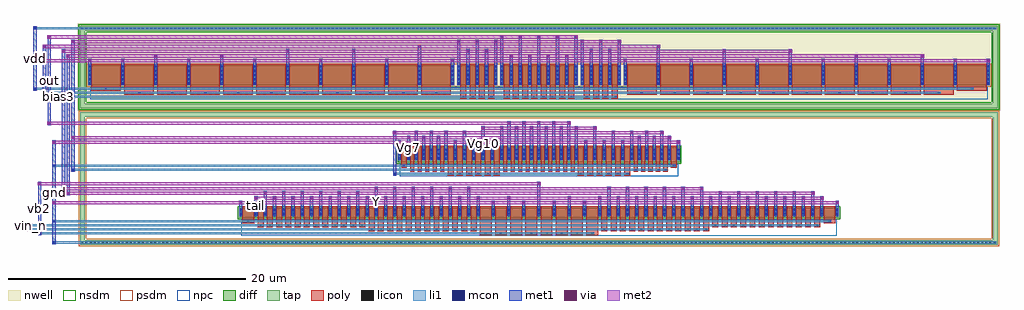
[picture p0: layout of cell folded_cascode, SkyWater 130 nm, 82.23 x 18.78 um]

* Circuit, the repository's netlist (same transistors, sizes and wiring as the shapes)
* folded_cascode hand design for LVS (Ibg = ideal source between pins vb1/vb2, CL = measurement load: not drawn)
.SUBCKT folded_cascode vdd gnd vin_n vin_p out vb1 vb2 bias3
MP vb1 vb1 vdd vdd sky130_fd_pr__pfet_01v8 w=6.6u l=2.5u
M3 X vb1 vdd vdd sky130_fd_pr__pfet_01v8 w=13.2u l=2.5u
M4 Y vb1 vdd vdd sky130_fd_pr__pfet_01v8 w=13.2u l=2.5u
M5 Vg7 bias3 Y vdd sky130_fd_pr__pfet_01v8 w=13.2u l=0.5u
M6 out bias3 X vdd sky130_fd_pr__pfet_01v8 w=13.2u l=0.5u
M1 X vin_n tail gnd sky130_fd_pr__nfet_01v8 w=20.16u l=0.5u
M2 Y vin_p tail gnd sky130_fd_pr__nfet_01v8 w=20.16u l=0.5u
M9 Vg9 Vg9 gnd gnd sky130_fd_pr__nfet_01v8 w=7.56u l=0.5u
M10 Vg10 Vg9 gnd gnd sky130_fd_pr__nfet_01v8 w=7.56u l=0.5u
M7 Vg7 Vg7 Vg9 gnd sky130_fd_pr__nfet_01v8 w=12.6u l=0.35u
M8 out Vg7 Vg10 gnd sky130_fd_pr__nfet_01v8 w=12.6u l=0.35u
M11 tail vb2 gnd gnd sky130_fd_pr__nfet_01v8 w=5.04u l=1u
MN vb2 vb2 gnd gnd sky130_fd_pr__nfet_01v8 w=1.68u l=1u
MDUMNinL tail gnd gnd gnd sky130_fd_pr__nfet_01v8 w=1.68u l=1u
MDUMNcmL Vg7 gnd gnd gnd sky130_fd_pr__nfet_01v8 w=2.52u l=0.5u
MDUMPL vdd vdd vdd vdd sky130_fd_pr__pfet_01v8 w=3.3u l=2.5u
.ENDS

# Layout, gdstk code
import gdstk
lib = gdstk.Library(unit=1e-6, precision=1e-09)
def R(c, l, rs):  # rectangles x0, y0, x1, y1
    for r in rs: c.add(gdstk.rectangle(r[:2], r[2:], *l))
def A(c, l, x, y, w, h, nx, ny, dx, dy):  # array of equal rectangles
    R(c, l, [(x+i*dx, y+j*dy, x+i*dx+w, y+j*dy+h) for i in range(nx) for j in range(ny)])
nwell = (64, 20)
diff = (65, 20)
tap = (65, 44)
poly = (66, 20)
licon = (66, 44)
li1 = (67, 20)
mcon = (67, 44)
met1 = (68, 20)
via = (68, 44)
met2 = (69, 20)
nsdm = (93, 44)
psdm = (94, 20)
npc = (95, 20)

folded_cascode = lib.new_cell('folded_cascode')
R(folded_cascode, nwell, [(-0.86,11.32,76.83,18.65)])
R(folded_cascode, diff, [(12.74,2.31,63.23,3.15), (26.1,6.98,49.87,8.24), (0,13.47,30.83,15.12), (31.1,13.47,34.47,15.12), (34.74,13.47,41.23,15.12), (41.5,13.47,44.87,15.12), (45.14,13.47,75.97,15.12)])
R(folded_cascode, tap, [(-0.68,0,76.65,0.41), (-0.68,0,-0.27,11.19), (76.24,0,76.65,11.19), (-0.68,10.78,76.65,11.19), (-0.68,11.5,76.65,11.91), (-0.68,11.5,-0.27,18.47), (76.24,11.5,76.65,18.47), (-0.68,18.06,76.65,18.47)])
A(folded_cascode, poly, 33.005, 0.805, 1, 2.475, 8, 1, 1.28, 0)
A(folded_cascode, poly, 23.645, 1.145, 0.5, 2.135, 12, 1, 0.78, 0)
A(folded_cascode, poly, 43.245, 1.145, 0.5, 2.135, 12, 1, 0.78, 0)
A(folded_cascode, poly, 14.285, 1.485, 0.5, 1.795, 12, 1, 0.78, 0)
A(folded_cascode, poly, 52.605, 1.485, 0.5, 1.795, 12, 1, 0.78, 0)
A(folded_cascode, poly, 30.295, 5.815, 0.5, 2.555, 6, 1, 0.78, 0)
A(folded_cascode, poly, 41.275, 5.815, 0.5, 2.555, 6, 1, 0.78, 0)
A(folded_cascode, poly, 27.145, 6.155, 0.35, 2.215, 5, 1, 0.63, 0)
A(folded_cascode, poly, 34.975, 6.155, 0.35, 2.215, 10, 1, 0.63, 0)
A(folded_cascode, poly, 45.955, 6.155, 0.35, 2.215, 5, 1, 0.63, 0)
A(folded_cascode, poly, 31.365, 12.305, 0.5, 2.945, 4, 1, 0.78, 0)
A(folded_cascode, poly, 35.005, 12.305, 0.5, 2.945, 8, 1, 0.78, 0)
A(folded_cascode, poly, 41.765, 12.305, 0.5, 2.945, 4, 1, 0.78, 0)
A(folded_cascode, poly, 3.045, 12.645, 2.5, 2.605, 10, 1, 2.78, 0)
A(folded_cascode, poly, 45.405, 12.645, 2.5, 2.605, 10, 1, 2.78, 0)
R(folded_cascode, poly, [(13.005,1.825,14.005,3.28), (61.965,1.825,62.965,3.28), (26.365,6.495,26.865,8.37), (49.105,6.495,49.605,8.37), (0.265,12.985,2.765,15.25), (73.205,12.985,75.705,15.25)])
A(folded_cascode, licon, -0.56, 0.12, 0.17, 0.17, 227, 2, 0.34, 18.06)
A(folded_cascode, licon, 33.42, 0.885, 0.17, 0.17, 8, 1, 1.28, 0)
A(folded_cascode, licon, 23.81, 1.225, 0.17, 0.17, 12, 1, 0.78, 0)
A(folded_cascode, licon, 43.41, 1.225, 0.17, 0.17, 12, 1, 0.78, 0)
A(folded_cascode, licon, 14.45, 1.565, 0.17, 0.17, 12, 1, 0.78, 0)
A(folded_cascode, licon, 52.77, 1.565, 0.17, 0.17, 12, 1, 0.78, 0)
A(folded_cascode, licon, 14.06, 2.475, 0.17, 0.17, 25, 2, 0.78, 0.34)
A(folded_cascode, licon, 34.06, 2.475, 0.17, 0.17, 8, 2, 1.28, 0.34)
A(folded_cascode, licon, 43.8, 2.475, 0.17, 0.17, 24, 2, 0.78, 0.34)
A(folded_cascode, licon, 30.46, 5.895, 0.17, 0.17, 6, 1, 0.78, 0)
A(folded_cascode, licon, 41.44, 5.895, 0.17, 0.17, 6, 1, 0.78, 0)
A(folded_cascode, licon, 27.235, 6.235, 0.17, 0.17, 5, 1, 0.63, 0)
A(folded_cascode, licon, 35.065, 6.235, 0.17, 0.17, 10, 1, 0.63, 0)
A(folded_cascode, licon, 46.045, 6.235, 0.17, 0.17, 5, 1, 0.63, 0)
A(folded_cascode, licon, 26.14, 7.185, 0.17, 0.17, 1, 3, 0, 0.34)
A(folded_cascode, licon, 26.92, 7.185, 0.17, 0.17, 6, 3, 0.63, 0.34)
A(folded_cascode, licon, 30.85, 7.185, 0.17, 0.17, 6, 3, 0.78, 0.34)
A(folded_cascode, licon, 35.38, 7.185, 0.17, 0.17, 10, 3, 0.63, 0.34)
A(folded_cascode, licon, 41.83, 7.185, 0.17, 0.17, 6, 3, 0.78, 0.34)
A(folded_cascode, licon, 46.36, 7.185, 0.17, 0.17, 5, 3, 0.63, 0.34)
A(folded_cascode, licon, 49.66, 7.185, 0.17, 0.17, 1, 3, 0, 0.34)
A(folded_cascode, licon, 31.53, 12.385, 0.17, 0.17, 4, 1, 0.78, 0)
A(folded_cascode, licon, 35.17, 12.385, 0.17, 0.17, 8, 1, 0.78, 0)
A(folded_cascode, licon, 41.93, 12.385, 0.17, 0.17, 4, 1, 0.78, 0)
A(folded_cascode, licon, 4.21, 12.725, 0.17, 0.17, 10, 1, 2.78, 0)
A(folded_cascode, licon, 46.57, 12.725, 0.17, 0.17, 10, 1, 2.78, 0)
A(folded_cascode, licon, 0.04, 13.53, 0.17, 0.17, 12, 5, 2.78, 0.34)
A(folded_cascode, licon, 31.14, 13.53, 0.17, 0.17, 5, 5, 0.78, 0.34)
A(folded_cascode, licon, 34.78, 13.53, 0.17, 0.17, 9, 5, 0.78, 0.34)
A(folded_cascode, licon, 41.54, 13.53, 0.17, 0.17, 5, 5, 0.78, 0.34)
A(folded_cascode, licon, 45.18, 13.53, 0.17, 0.17, 12, 5, 2.78, 0.34)
R(folded_cascode, licon, [(13.42,1.905,13.59,2.075), (62.38,1.905,62.55,2.075), (12.78,2.475,12.95,2.645), (63.02,2.475,63.19,2.645), (12.78,2.815,12.95,2.985), (63.02,2.815,63.19,2.985), (26.53,6.575,26.7,6.745), (49.27,6.575,49.44,6.745), (1.43,13.065,1.6,13.235), (74.37,13.065,74.54,13.235)])
A(folded_cascode, li1, 14.06, 2.395, 0.17, 0.67, 25, 1, 0.78, 0)
A(folded_cascode, li1, 34.06, 2.395, 0.17, 0.67, 8, 1, 1.28, 0)
A(folded_cascode, li1, 43.8, 2.395, 0.17, 0.67, 24, 1, 0.78, 0)
A(folded_cascode, li1, 26.92, 7.105, 0.17, 1.01, 6, 1, 0.63, 0)
A(folded_cascode, li1, 30.85, 7.105, 0.17, 1.01, 6, 1, 0.78, 0)
A(folded_cascode, li1, 35.38, 7.105, 0.17, 1.01, 10, 1, 0.63, 0)
A(folded_cascode, li1, 41.83, 7.105, 0.17, 1.01, 6, 1, 0.78, 0)
A(folded_cascode, li1, 46.36, 7.105, 0.17, 1.01, 5, 1, 0.63, 0)
A(folded_cascode, li1, 0.04, 13.45, 0.17, 1.69, 12, 1, 2.78, 0)
A(folded_cascode, li1, 31.14, 13.45, 0.17, 1.69, 5, 1, 0.78, 0)
A(folded_cascode, li1, 34.78, 13.45, 0.17, 1.69, 9, 1, 0.78, 0)
A(folded_cascode, li1, 41.54, 13.45, 0.17, 1.69, 5, 1, 0.78, 0)
A(folded_cascode, li1, 45.18, 13.45, 0.17, 1.69, 12, 1, 2.78, 0)
R(folded_cascode, li1, [(-3,0.12,76.53,0.29), (-4.2,0.885,42.63,1.055), (-5.4,1.225,52.24,1.395), (-5,1.565,61.6,1.735), (-3,1.905,62.63,2.075), (12.78,2.395,12.95,3.065), (63.02,2.395,63.19,3.065), (25.695,5.895,45.59,6.065), (-1.4,6.235,48.815,6.405), (-3,6.575,49.52,6.745), (26.14,7.105,26.31,8.115), (49.66,7.105,49.83,8.115), (-2.6,12.385,44.52,12.555), (-3.8,12.725,71.84,12.895), (-4.6,13.065,74.62,13.235), (-4.6,18.18,76.53,18.35)])
A(folded_cascode, mcon, 14.06, 2.535, 0.17, 0.17, 25, 2, 0.78, 0.36)
A(folded_cascode, mcon, 34.06, 2.535, 0.17, 0.17, 8, 2, 1.28, 0.36)
A(folded_cascode, mcon, 43.8, 2.535, 0.17, 0.17, 24, 2, 0.78, 0.36)
A(folded_cascode, mcon, 26.14, 7.225, 0.17, 0.17, 1, 3, 0, 0.36)
A(folded_cascode, mcon, 26.92, 7.225, 0.17, 0.17, 6, 3, 0.63, 0.36)
A(folded_cascode, mcon, 30.85, 7.225, 0.17, 0.17, 6, 3, 0.78, 0.36)
A(folded_cascode, mcon, 35.38, 7.225, 0.17, 0.17, 10, 3, 0.63, 0.36)
A(folded_cascode, mcon, 41.83, 7.225, 0.17, 0.17, 6, 3, 0.78, 0.36)
A(folded_cascode, mcon, 46.36, 7.225, 0.17, 0.17, 5, 3, 0.63, 0.36)
A(folded_cascode, mcon, 49.66, 7.225, 0.17, 0.17, 1, 3, 0, 0.36)
A(folded_cascode, mcon, 0.04, 13.53, 0.17, 0.17, 12, 5, 2.78, 0.36)
A(folded_cascode, mcon, 31.14, 13.53, 0.17, 0.17, 5, 5, 0.78, 0.36)
A(folded_cascode, mcon, 34.78, 13.53, 0.17, 0.17, 9, 5, 0.78, 0.36)
A(folded_cascode, mcon, 41.54, 13.53, 0.17, 0.17, 5, 5, 0.78, 0.36)
A(folded_cascode, mcon, 45.18, 13.53, 0.17, 0.17, 12, 5, 2.78, 0.36)
R(folded_cascode, mcon, [(-2.955,0.12,-2.785,0.29), (-4.155,0.885,-3.985,1.055), (-5.355,1.225,-5.185,1.395), (-4.955,1.565,-4.785,1.735), (-2.955,1.905,-2.785,2.075), (12.78,2.535,12.95,2.705), (63.02,2.535,63.19,2.705), (12.78,2.895,12.95,3.065), (63.02,2.895,63.19,3.065), (25.74,5.895,25.91,6.065), (-1.355,6.235,-1.185,6.405), (-2.955,6.575,-2.785,6.745), (-2.555,12.385,-2.385,12.555), (-3.755,12.725,-3.585,12.895), (-4.555,13.065,-4.385,13.235), (-4.555,18.18,-4.385,18.35)])
A(folded_cascode, met1, 14.015, 2.475, 0.26, 1.635, 13, 1, 1.56, 0)
A(folded_cascode, met1, 14.795, 2.475, 0.26, 2.035, 6, 1, 1.56, 0)
A(folded_cascode, met1, 24.155, 2.475, 0.26, 2.435, 6, 1, 1.56, 0)
A(folded_cascode, met1, 34.015, 2.475, 0.26, 1.235, 4, 1, 2.56, 0)
A(folded_cascode, met1, 42.975, 2.475, 0.26, 1.635, 13, 1, 1.56, 0)
A(folded_cascode, met1, 43.755, 2.475, 0.26, 2.435, 6, 1, 1.56, 0)
A(folded_cascode, met1, 53.115, 2.475, 0.26, 2.035, 6, 1, 1.56, 0)
A(folded_cascode, met1, 26.875, 7.165, 0.26, 2.035, 3, 1, 1.26, 0)
A(folded_cascode, met1, 27.505, 7.165, 0.26, 2.435, 3, 1, 1.26, 0)
A(folded_cascode, met1, 30.805, 7.165, 0.26, 1.635, 3, 1, 1.56, 0)
A(folded_cascode, met1, 34.705, 7.165, 0.26, 2.835, 6, 1, 1.26, 0)
A(folded_cascode, met1, 35.335, 7.165, 0.26, 3.235, 5, 1, 1.26, 0)
A(folded_cascode, met1, 41.785, 7.165, 0.26, 1.635, 3, 1, 1.56, 0)
A(folded_cascode, met1, 45.685, 7.165, 0.26, 2.435, 3, 1, 1.26, 0)
A(folded_cascode, met1, 46.315, 7.165, 0.26, 2.035, 3, 1, 1.26, 0)
A(folded_cascode, met1, 2.775, 13.47, 0.26, 2.21, 6, 1, 5.56, 0)
A(folded_cascode, met1, 31.095, 13.47, 0.26, 3.81, 3, 1, 1.56, 0)
A(folded_cascode, met1, 34.735, 13.47, 0.26, 4.21, 5, 1, 1.56, 0)
A(folded_cascode, met1, 35.515, 13.47, 0.26, 2.61, 4, 1, 1.56, 0)
A(folded_cascode, met1, 41.495, 13.47, 0.26, 3.81, 3, 1, 1.56, 0)
A(folded_cascode, met1, 45.135, 13.47, 0.26, 2.21, 6, 1, 5.56, 0)
R(folded_cascode, met1, [(-3,0.06,-2.74,8.8), (-4.2,0.825,-3.94,5.31), (-5.4,1.165,-5.14,1.49), (-5,1.505,-4.74,1.83), (12.735,2.475,12.995,3.71), (35.295,2.475,35.555,4.11), (37.855,2.475,38.115,5.31), (40.415,2.475,40.675,4.11), (62.975,2.475,63.235,3.71), (-1.8,4.19,-1.54,16.08), (-2.2,4.59,-1.94,16.48), (25.695,5.835,25.955,9.6), (-1.4,6.175,-1.14,17.28), (26.095,7.165,26.355,8.8), (31.585,7.165,31.845,9.6), (33.145,7.165,33.405,10), (42.565,7.165,42.825,10), (44.125,7.165,44.385,9.6), (49.615,7.165,49.875,8.8), (-3.4,10.08,-3.14,17.68), (-2.6,12.325,-2.34,12.65), (-3.8,12.665,-3.54,16.88), (-4.6,13.005,-4.34,18.41), (-0.005,13.47,0.255,15.68), (5.555,13.47,5.815,16.08), (11.115,13.47,11.375,16.08), (16.675,13.47,16.935,16.48), (22.235,13.47,22.495,16.48), (27.795,13.47,28.055,16.88), (31.875,13.47,32.135,16.48), (33.435,13.47,33.695,16.48), (42.275,13.47,42.535,16.48), (43.835,13.47,44.095,16.48), (47.915,13.47,48.175,16.88), (53.475,13.47,53.735,16.48), (59.035,13.47,59.295,16.48), (64.595,13.47,64.855,16.08), (70.155,13.47,70.415,16.08), (75.715,13.47,75.975,15.68)])
A(folded_cascode, via, 34.07, 3.475, 0.15, 0.15, 4, 1, 2.56, 0)
A(folded_cascode, via, 14.07, 3.875, 0.15, 0.15, 13, 1, 1.56, 0)
A(folded_cascode, via, 43.03, 3.875, 0.15, 0.15, 13, 1, 1.56, 0)
A(folded_cascode, via, 14.85, 4.275, 0.15, 0.15, 6, 1, 1.56, 0)
A(folded_cascode, via, 53.17, 4.275, 0.15, 0.15, 6, 1, 1.56, 0)
A(folded_cascode, via, 24.21, 4.675, 0.15, 0.15, 6, 1, 1.56, 0)
A(folded_cascode, via, 43.81, 4.675, 0.15, 0.15, 6, 1, 1.56, 0)
A(folded_cascode, via, 30.86, 8.565, 0.15, 0.15, 3, 1, 1.56, 0)
A(folded_cascode, via, 41.84, 8.565, 0.15, 0.15, 3, 1, 1.56, 0)
A(folded_cascode, via, 26.93, 8.965, 0.15, 0.15, 3, 1, 1.26, 0)
A(folded_cascode, via, 46.37, 8.965, 0.15, 0.15, 3, 1, 1.26, 0)
A(folded_cascode, via, 27.56, 9.365, 0.15, 0.15, 3, 1, 1.26, 0)
A(folded_cascode, via, 45.74, 9.365, 0.15, 0.15, 3, 1, 1.26, 0)
A(folded_cascode, via, 34.76, 9.765, 0.15, 0.15, 6, 1, 1.26, 0)
A(folded_cascode, via, 35.39, 10.165, 0.15, 0.15, 5, 1, 1.26, 0)
A(folded_cascode, via, 2.83, 15.445, 0.15, 0.15, 6, 1, 5.56, 0)
A(folded_cascode, via, 45.19, 15.445, 0.15, 0.15, 6, 1, 5.56, 0)
A(folded_cascode, via, 35.57, 15.845, 0.15, 0.15, 4, 1, 1.56, 0)
A(folded_cascode, via, 31.15, 17.045, 0.15, 0.15, 3, 1, 1.56, 0)
A(folded_cascode, via, 41.55, 17.045, 0.15, 0.15, 3, 1, 1.56, 0)
A(folded_cascode, via, 34.79, 17.445, 0.15, 0.15, 5, 1, 1.56, 0)
R(folded_cascode, via, [(-2.945,3.475,-2.795,3.625), (12.79,3.475,12.94,3.625), (63.03,3.475,63.18,3.625), (35.35,3.875,35.5,4.025), (40.47,3.875,40.62,4.025), (-1.745,4.275,-1.595,4.425), (-2.145,4.675,-1.995,4.825), (-4.145,5.075,-3.995,5.225), (37.91,5.075,38.06,5.225), (-2.945,8.565,-2.795,8.715), (26.15,8.565,26.3,8.715), (49.67,8.565,49.82,8.715), (-1.345,8.965,-1.195,9.115), (25.75,9.365,25.9,9.515), (31.64,9.365,31.79,9.515), (44.18,9.365,44.33,9.515), (33.2,9.765,33.35,9.915), (42.62,9.765,42.77,9.915), (-3.345,10.165,-3.195,10.315), (-4.545,15.445,-4.395,15.595), (0.05,15.445,0.2,15.595), (75.77,15.445,75.92,15.595), (-1.745,15.845,-1.595,15.995), (5.61,15.845,5.76,15.995), (11.17,15.845,11.32,15.995), (64.65,15.845,64.8,15.995), (70.21,15.845,70.36,15.995), (-2.145,16.245,-1.995,16.395), (16.73,16.245,16.88,16.395), (22.29,16.245,22.44,16.395), (31.93,16.245,32.08,16.395), (33.49,16.245,33.64,16.395), (42.33,16.245,42.48,16.395), (43.89,16.245,44.04,16.395), (53.53,16.245,53.68,16.395), (59.09,16.245,59.24,16.395), (-3.745,16.645,-3.595,16.795), (27.85,16.645,28,16.795), (47.97,16.645,48.12,16.795), (-1.345,17.045,-1.195,17.195), (-3.345,17.445,-3.195,17.595)])
R(folded_cascode, met2, [(-3.03,3.42,63.265,3.68), (13.985,3.82,61.985,4.08), (-1.83,4.22,61.205,4.48), (-2.23,4.62,51.845,4.88), (-4.23,5.02,38.145,5.28), (-3.03,8.51,49.905,8.77), (-1.43,8.91,49.125,9.17), (25.665,9.31,48.495,9.57), (33.115,9.71,42.855,9.97), (-3.43,10.11,40.665,10.37), (-4.63,15.39,76.005,15.65), (-1.83,15.79,70.445,16.05), (-2.23,16.19,59.325,16.45), (-3.83,16.59,48.205,16.85), (-1.43,16.99,44.905,17.25), (-3.43,17.39,41.265,17.65)])
R(folded_cascode, nsdm, [(12.615,2.185,63.355,3.275), (25.975,6.855,49.995,8.365), (-0.805,11.375,76.775,12.035), (-0.805,11.375,-0.145,18.595), (76.115,11.375,76.775,18.595), (-0.805,17.935,76.775,18.595)])
R(folded_cascode, psdm, [(-0.805,-0.125,76.775,0.535), (-0.805,-0.125,-0.145,11.315), (76.115,-0.125,76.775,11.315), (-0.805,10.655,76.775,11.315), (-0.125,13.345,76.095,15.245)])
R(folded_cascode, npc, [(12.905,0.785,63.065,2.175), (26.265,5.795,49.705,6.845), (0.165,12.285,75.805,13.335)])
folded_cascode.add(gdstk.Label('tail', (14.145,3.295), layer=68, texttype=5))
folded_cascode.add(gdstk.Label('X', (14.925,3.495), layer=68, texttype=5))
folded_cascode.add(gdstk.Label('Y', (24.285,3.69), layer=68, texttype=5))
folded_cascode.add(gdstk.Label('Vg7', (27.005,8.185), layer=68, texttype=5))
folded_cascode.add(gdstk.Label('Vg9', (27.635,8.38), layer=68, texttype=5))
folded_cascode.add(gdstk.Label('Vg10', (33.275,8.585), layer=68, texttype=5))
folded_cascode.add(gdstk.Label('bias3', (-2.47,12.485), layer=68, texttype=5))
folded_cascode.add(gdstk.Label('gnd', (-2.87,4.43), layer=68, texttype=5))
folded_cascode.add(gdstk.Label('out', (-3.27,13.88), layer=68, texttype=5))
folded_cascode.add(gdstk.Label('vb1', (-3.67,14.77), layer=68, texttype=5))
folded_cascode.add(gdstk.Label('vb2', (-4.07,3.07), layer=68, texttype=5))
folded_cascode.add(gdstk.Label('vdd', (-4.47,15.71), layer=68, texttype=5))
folded_cascode.add(gdstk.Label('vin_n', (-4.87,1.665), layer=68, texttype=5))
folded_cascode.add(gdstk.Label('vin_p', (-5.27,1.325), layer=68, texttype=5))

lib.write_gds('folded_cascode.gds')
